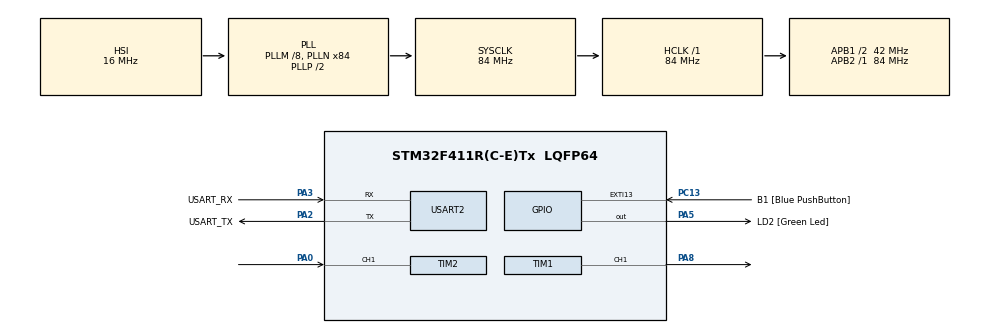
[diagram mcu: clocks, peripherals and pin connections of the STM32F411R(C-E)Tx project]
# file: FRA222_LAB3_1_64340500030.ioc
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Dma.Request0=TIM2_CH1
Dma.TIM2_CH1.0.Direction=DMA_PERIPH_TO_MEMORY
Dma.TIM2_CH1.0.FIFOMode=DMA_FIFOMODE_DISABLE
Dma.TIM2_CH1.0.Instance=DMA1_Stream5
Dma.TIM2_CH1.0.MemDataAlignment=DMA_MDATAALIGN_WORD
Dma.TIM2_CH1.0.MemInc=DMA_MINC_ENABLE
Dma.TIM2_CH1.0.Mode=DMA_CIRCULAR
Dma.TIM2_CH1.0.PeriphDataAlignment=DMA_PDATAALIGN_WORD
Dma.TIM2_CH1.0.PeriphInc=DMA_PINC_DISABLE
Dma.TIM2_CH1.0.Priority=DMA_PRIORITY_LOW
Mcu.Family=STM32F4
Mcu.Name=STM32F411R(C-E)Tx
Mcu.Package=LQFP64
NVIC.DMA1_Stream5_IRQn=true\:0\:0\:false\:false\:true\:false\:true\:true
NVIC.PriorityGroup=NVIC_PRIORITYGROUP_0
PA0-WKUP.Signal=S_TIM2_CH1_ETR
PA13.GPIO_Label=TMS
PA13.Mode=Serial_Wire
PA13.Signal=SYS_JTMS-SWDIO
PA14.GPIO_Label=TCK
PA14.Mode=Serial_Wire
PA14.Signal=SYS_JTCK-SWCLK
PA2.GPIO_Label=USART_TX
PA2.Mode=Asynchronous
PA2.Signal=USART2_TX
PA3.GPIO_Label=USART_RX
PA3.Mode=Asynchronous
PA3.Signal=USART2_RX
PA5.GPIO_Label=LD2 [Green Led]
PA5.Signal=GPIO_Output
PA8.Signal=S_TIM1_CH1
PB3.GPIO_Label=SWO
PB3.Signal=SYS_JTDO-SWO
PC13-ANTI_TAMP.GPIO_Label=B1 [Blue PushButton]
PC13-ANTI_TAMP.GPIO_ModeDefaultEXTI=GPIO_MODE_IT_FALLING
PC13-ANTI_TAMP.Signal=GPXTI13
PC14-OSC32_IN.Mode=LSE-External-Oscillator
PC14-OSC32_IN.Signal=RCC_OSC32_IN
PC15-OSC32_OUT.Mode=LSE-External-Oscillator
PC15-OSC32_OUT.Signal=RCC_OSC32_OUT
PH0\ -\ OSC_IN.Mode=HSE-External-Clock-Source
PH0\ -\ OSC_IN.Signal=RCC_OSC_IN
PH1\ -\ OSC_OUT.Mode=HSE-External-Clock-Source
PH1\ -\ OSC_OUT.Signal=RCC_OSC_OUT
ProjectManager.HeapSize=0x200
ProjectManager.StackSize=0x400
ProjectManager.TargetToolchain=STM32CubeIDE
RCC.48MHZClocksFreq_Value=42000000
RCC.AHBFreq_Value=84000000
RCC.APB1CLKDivider=RCC_HCLK_DIV2
RCC.APB1Freq_Value=42000000
RCC.APB1TimFreq_Value=84000000
RCC.APB2Freq_Value=84000000
RCC.APB2TimFreq_Value=84000000
RCC.CortexFreq_Value=84000000
RCC.FLatency-AdvancedSettings=FLASH_LATENCY_2
RCC.HCLKFreq_Value=84000000
RCC.HSE_VALUE=8000000
RCC.HSI_VALUE=16000000
RCC.PLLM=8
RCC.PLLN=84
RCC.SYSCLKFreq_VALUE=84000000
RCC.SYSCLKSource=RCC_SYSCLKSOURCE_PLLCLK
RCC.VCOOutputFreq_Value=168000000
SH.S_TIM1_CH1.0=TIM1_CH1,PWM Generation1 CH1
SH.S_TIM2_CH1_ETR.0=TIM2_CH1,Input_Capture1_from_TI1
TIM1.Channel-PWM\ Generation1\ CH1=TIM_CHANNEL_1
TIM1.Period=1000
TIM1.Prescaler=83
TIM1.Pulse-PWM\ Generation1\ CH1=500
TIM2.Channel-Input_Capture1_from_TI1=TIM_CHANNEL_1
TIM2.Prescaler=83
USART2.VirtualMode=VM_ASYNC
VP_TIM1_VS_ClockSourceINT.Mode=Internal
VP_TIM2_VS_ClockSourceINT.Mode=Internal
board=NUCLEO-F411RE

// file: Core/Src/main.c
/* USER CODE BEGIN Header */
/**
  ******************************************************************************
  * @file           : main.c
  * @brief          : Main program body
  ******************************************************************************
  * @attention
  *
  * Copyright (c) 2023 STMicroelectronics.
  * All rights reserved.
  *
  * This software is licensed under terms that can be found in the LICENSE file
  * in the root directory of this software component.
  * If no LICENSE file comes with this software, it is provided AS-IS.
  *
  ******************************************************************************
  */
/* USER CODE END Header */
#include "main.h"

/* USER CODE BEGIN Includes */
#define IC_BUFFER_SIZE 20
/* USER CODE END Includes */

TIM_HandleTypeDef htim1;
TIM_HandleTypeDef htim2;
DMA_HandleTypeDef hdma_tim2_ch1;

UART_HandleTypeDef huart2;

/* USER CODE BEGIN PV */
uint32_t InputCaptureBuffer[IC_BUFFER_SIZE];
float averageRisingedgePeriod;

uint32_t MotorSetDuty = 500;
uint32_t MotorSetRPM = 0;

float MotorReadRPS = 0;
float MotorReadRPM = 0;

uint32_t MotorControlEnable = 0;
/* USER CODE END PV */

void SystemClock_Config(void);
static void MX_GPIO_Init(void);
static void MX_DMA_Init(void);
static void MX_USART2_UART_Init(void);
static void MX_TIM2_Init(void);
static void MX_TIM1_Init(void);
/* USER CODE BEGIN PFP */
float IC_Calc_Period();
/* USER CODE END PFP */

int main(void)
{

  /* MCU Configuration--------------------------------------------------------*/

  /* Reset of all peripherals, Initializes the Flash interface and the Systick. */
  HAL_Init();

  /* Configure the system clock */
  SystemClock_Config();

  /* Initialize all configured peripherals */
  MX_GPIO_Init();
  MX_DMA_Init();
  MX_USART2_UART_Init();
  MX_TIM2_Init();
  MX_TIM1_Init();
  /* USER CODE BEGIN 2 */
  HAL_TIM_Base_Start(&htim2);
  HAL_TIM_IC_Start_DMA(&htim2, TIM_CHANNEL_1, InputCaptureBuffer, IC_BUFFER_SIZE);

  HAL_TIM_Base_Start(&htim1);
  HAL_TIM_PWM_Start(&htim1, TIM_CHANNEL_1);
  /* USER CODE END 2 */

  /* Infinite loop */
  while (1)
  {

    /* USER CODE BEGIN 3 */
	  static uint32_t timestamp = 0;
	  if(HAL_GetTick() >= timestamp){
		  timestamp = HAL_GetTick()+500;
		  switch (MotorControlEnable) {
		  		case 0:
		  			__HAL_TIM_SET_COMPARE(&htim1, TIM_CHANNEL_1, MotorSetDuty);
		  			MotorReadRPM = IC_Calc_Period();
		  			break;
		  		case 1:
		  			__HAL_TIM_SET_COMPARE(&htim1, TIM_CHANNEL_1, MotorSetDuty);
		  			MotorReadRPM = IC_Calc_Period();
		  			if (MotorReadRPM <= MotorSetRPM) {
		  				MotorSetDuty += 50;
					}
		  			else if (MotorReadRPM >= MotorSetRPM) {
		  				MotorSetDuty -= 50;
					}
		  			break;
		  }
	  }
  }
  /* USER CODE END 3 */
}

void SystemClock_Config(void)
{
  RCC_OscInitTypeDef RCC_OscInitStruct = {0};
  RCC_ClkInitTypeDef RCC_ClkInitStruct = {0};

  /** Configure the main internal regulator output voltage
  */
  __HAL_RCC_PWR_CLK_ENABLE();
  __HAL_PWR_VOLTAGESCALING_CONFIG(PWR_REGULATOR_VOLTAGE_SCALE1);

  /** Initializes the RCC Oscillators according to the specified parameters
  * in the RCC_OscInitTypeDef structure.
  */
  RCC_OscInitStruct.OscillatorType = RCC_OSCILLATORTYPE_HSI;
  RCC_OscInitStruct.HSIState = RCC_HSI_ON;
  RCC_OscInitStruct.HSICalibrationValue = RCC_HSICALIBRATION_DEFAULT;
  RCC_OscInitStruct.PLL.PLLState = RCC_PLL_ON;
  RCC_OscInitStruct.PLL.PLLSource = RCC_PLLSOURCE_HSI;
  RCC_OscInitStruct.PLL.PLLM = 8;
  RCC_OscInitStruct.PLL.PLLN = 84;
  RCC_OscInitStruct.PLL.PLLP = RCC_PLLP_DIV2;
  RCC_OscInitStruct.PLL.PLLQ = 4;
  if (HAL_RCC_OscConfig(&RCC_OscInitStruct) != HAL_OK)
  {
    Error_Handler();
  }

  /** Initializes the CPU, AHB and APB buses clocks
  */
  RCC_ClkInitStruct.ClockType = RCC_CLOCKTYPE_HCLK|RCC_CLOCKTYPE_SYSCLK
                              |RCC_CLOCKTYPE_PCLK1|RCC_CLOCKTYPE_PCLK2;
  RCC_ClkInitStruct.SYSCLKSource = RCC_SYSCLKSOURCE_PLLCLK;
  RCC_ClkInitStruct.AHBCLKDivider = RCC_SYSCLK_DIV1;
  RCC_ClkInitStruct.APB1CLKDivider = RCC_HCLK_DIV2;
  RCC_ClkInitStruct.APB2CLKDivider = RCC_HCLK_DIV1;

  if (HAL_RCC_ClockConfig(&RCC_ClkInitStruct, FLASH_LATENCY_2) != HAL_OK)
  {
    Error_Handler();
  }
}

static void MX_TIM1_Init(void)
{

  TIM_ClockConfigTypeDef sClockSourceConfig = {0};
  TIM_MasterConfigTypeDef sMasterConfig = {0};
  TIM_OC_InitTypeDef sConfigOC = {0};
  TIM_BreakDeadTimeConfigTypeDef sBreakDeadTimeConfig = {0};

  htim1.Instance = TIM1;
  htim1.Init.Prescaler = 83;
  htim1.Init.CounterMode = TIM_COUNTERMODE_UP;
  htim1.Init.Period = 1000;
  htim1.Init.ClockDivision = TIM_CLOCKDIVISION_DIV1;
  htim1.Init.RepetitionCounter = 0;
  htim1.Init.AutoReloadPreload = TIM_AUTORELOAD_PRELOAD_DISABLE;
  if (HAL_TIM_Base_Init(&htim1) != HAL_OK)
  {
    Error_Handler();
  }
  sClockSourceConfig.ClockSource = TIM_CLOCKSOURCE_INTERNAL;
  if (HAL_TIM_ConfigClockSource(&htim1, &sClockSourceConfig) != HAL_OK)
  {
    Error_Handler();
  }
  if (HAL_TIM_PWM_Init(&htim1) != HAL_OK)
  {
    Error_Handler();
  }
  sMasterConfig.MasterOutputTrigger = TIM_TRGO_RESET;
  sMasterConfig.MasterSlaveMode = TIM_MASTERSLAVEMODE_DISABLE;
  if (HAL_TIMEx_MasterConfigSynchronization(&htim1, &sMasterConfig) != HAL_OK)
  {
    Error_Handler();
  }
  sConfigOC.OCMode = TIM_OCMODE_PWM1;
  sConfigOC.Pulse = 500;
  sConfigOC.OCPolarity = TIM_OCPOLARITY_HIGH;
  sConfigOC.OCNPolarity = TIM_OCNPOLARITY_HIGH;
  sConfigOC.OCFastMode = TIM_OCFAST_DISABLE;
  sConfigOC.OCIdleState = TIM_OCIDLESTATE_RESET;
  sConfigOC.OCNIdleState = TIM_OCNIDLESTATE_RESET;
  if (HAL_TIM_PWM_ConfigChannel(&htim1, &sConfigOC, TIM_CHANNEL_1) != HAL_OK)
  {
    Error_Handler();
  }
  sBreakDeadTimeConfig.OffStateRunMode = TIM_OSSR_DISABLE;
  sBreakDeadTimeConfig.OffStateIDLEMode = TIM_OSSI_DISABLE;
  sBreakDeadTimeConfig.LockLevel = TIM_LOCKLEVEL_OFF;
  sBreakDeadTimeConfig.DeadTime = 0;
  sBreakDeadTimeConfig.BreakState = TIM_BREAK_DISABLE;
  sBreakDeadTimeConfig.BreakPolarity = TIM_BREAKPOLARITY_HIGH;
  sBreakDeadTimeConfig.AutomaticOutput = TIM_AUTOMATICOUTPUT_DISABLE;
  if (HAL_TIMEx_ConfigBreakDeadTime(&htim1, &sBreakDeadTimeConfig) != HAL_OK)
  {
    Error_Handler();
  }
  HAL_TIM_MspPostInit(&htim1);

}

static void MX_TIM2_Init(void)
{

  TIM_ClockConfigTypeDef sClockSourceConfig = {0};
  TIM_MasterConfigTypeDef sMasterConfig = {0};
  TIM_IC_InitTypeDef sConfigIC = {0};

  htim2.Instance = TIM2;
  htim2.Init.Prescaler = 83;
  htim2.Init.CounterMode = TIM_COUNTERMODE_UP;
  htim2.Init.Period = 4294967295;
  htim2.Init.ClockDivision = TIM_CLOCKDIVISION_DIV1;
  htim2.Init.AutoReloadPreload = TIM_AUTORELOAD_PRELOAD_DISABLE;
  if (HAL_TIM_Base_Init(&htim2) != HAL_OK)
  {
    Error_Handler();
  }
  sClockSourceConfig.ClockSource = TIM_CLOCKSOURCE_INTERNAL;
  if (HAL_TIM_ConfigClockSource(&htim2, &sClockSourceConfig) != HAL_OK)
  {
    Error_Handler();
  }
  if (HAL_TIM_IC_Init(&htim2) != HAL_OK)
  {
    Error_Handler();
  }
  sMasterConfig.MasterOutputTrigger = TIM_TRGO_RESET;
  sMasterConfig.MasterSlaveMode = TIM_MASTERSLAVEMODE_DISABLE;
  if (HAL_TIMEx_MasterConfigSynchronization(&htim2, &sMasterConfig) != HAL_OK)
  {
    Error_Handler();
  }
  sConfigIC.ICPolarity = TIM_INPUTCHANNELPOLARITY_RISING;
  sConfigIC.ICSelection = TIM_ICSELECTION_DIRECTTI;
  sConfigIC.ICPrescaler = TIM_ICPSC_DIV1;
  sConfigIC.ICFilter = 0;
  if (HAL_TIM_IC_ConfigChannel(&htim2, &sConfigIC, TIM_CHANNEL_1) != HAL_OK)
  {
    Error_Handler();
  }

}

static void MX_USART2_UART_Init(void)
{

  huart2.Instance = USART2;
  huart2.Init.BaudRate = 115200;
  huart2.Init.WordLength = UART_WORDLENGTH_8B;
  huart2.Init.StopBits = UART_STOPBITS_1;
  huart2.Init.Parity = UART_PARITY_NONE;
  huart2.Init.Mode = UART_MODE_TX_RX;
  huart2.Init.HwFlowCtl = UART_HWCONTROL_NONE;
  huart2.Init.OverSampling = UART_OVERSAMPLING_16;
  if (HAL_UART_Init(&huart2) != HAL_OK)
  {
    Error_Handler();
  }

}

static void MX_DMA_Init(void)
{

  /* DMA controller clock enable */
  __HAL_RCC_DMA1_CLK_ENABLE();

  /* DMA interrupt init */
  /* DMA1_Stream5_IRQn interrupt configuration */
  HAL_NVIC_SetPriority(DMA1_Stream5_IRQn, 0, 0);
  HAL_NVIC_EnableIRQ(DMA1_Stream5_IRQn);

}

static void MX_GPIO_Init(void)
{
  GPIO_InitTypeDef GPIO_InitStruct = {0};

  /* GPIO Ports Clock Enable */
  __HAL_RCC_GPIOC_CLK_ENABLE();
  __HAL_RCC_GPIOH_CLK_ENABLE();
  __HAL_RCC_GPIOA_CLK_ENABLE();
  __HAL_RCC_GPIOB_CLK_ENABLE();

  /*Configure GPIO pin Output Level */
  HAL_GPIO_WritePin(LD2_GPIO_Port, LD2_Pin, GPIO_PIN_RESET);

  /*Configure GPIO pin : B1_Pin */
  GPIO_InitStruct.Pin = B1_Pin;
  GPIO_InitStruct.Mode = GPIO_MODE_IT_FALLING;
  GPIO_InitStruct.Pull = GPIO_NOPULL;
  HAL_GPIO_Init(B1_GPIO_Port, &GPIO_InitStruct);

  /*Configure GPIO pin : LD2_Pin */
  GPIO_InitStruct.Pin = LD2_Pin;
  GPIO_InitStruct.Mode = GPIO_MODE_OUTPUT_PP;
  GPIO_InitStruct.Pull = GPIO_NOPULL;
  GPIO_InitStruct.Speed = GPIO_SPEED_FREQ_LOW;
  HAL_GPIO_Init(LD2_GPIO_Port, &GPIO_InitStruct);

}

/* USER CODE BEGIN 4 */
float IC_Calc_Period()
{
    uint32_t currentDMAPointer = IC_BUFFER_SIZE - __HAL_DMA_GET_COUNTER((htim2.hdma[1]));
    uint32_t lastValidDMAPointer = (currentDMAPointer-1 + IC_BUFFER_SIZE) % IC_BUFFER_SIZE;
    uint32_t i = (lastValidDMAPointer + IC_BUFFER_SIZE - 5) % IC_BUFFER_SIZE;

    int32_t sumdiff = 0;
    while (i != lastValidDMAPointer)
    {
        uint32_t firstCapture = InputCaptureBuffer[i];
        uint32_t NextCapture = InputCaptureBuffer[(i+1)%IC_BUFFER_SIZE];
        sumdiff += NextCapture - firstCapture;
        i = (i+1) % IC_BUFFER_SIZE;
    }
    return (60.0*1000000.0)/((sumdiff/5.0)*12.0*64.0);
}
/* USER CODE END 4 */

void Error_Handler(void)
{
  __disable_irq();
  while (1)
  {
  }
}
